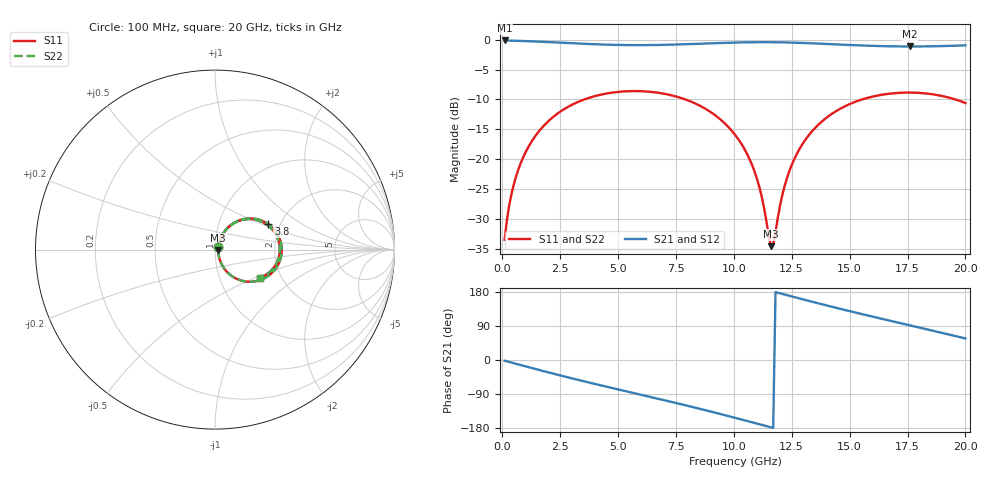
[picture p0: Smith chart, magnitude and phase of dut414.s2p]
! Touchstone file exported from HFSS 2026.1.0
!  File:  C:/ffzhzh/LocalFiles/Ansys_Project_Files/temp_train_TSV_RDL_414_1783094579_46604.aedt
!  Generated:  12:17:11 AM Jul  4, 2026
!  Design:  TSV_RDL
!  Project:  temp_train_TSV_RDL_414_1783094579_46604
! Variables:
!  h_bsmrdl = 4.1um
!  h_ox = 20um
!  h_rdl = 5um
!  h_sub = 85.62um
!  h_tmrdl = 3.87um
!  h_tsv = 85.62um
!  h_via = 3um
!  l_bsmrdl = 585.35um
!  l_sub = 5152.92um
!  l_tmrdl = 708.5um
!  m_sub = 200um
!  pitch = 45.58um
!  r_tsv = 10.34um
!  s_tmrdl = 10um
!  w_bsmrdl = 24.99um
!  w_sub = 500um
!  w_tmrdl = 29.3um
!  x_tsv_center1 = 723.15um
!  x_tsv_center2 = 1333.49um
!  x_tsv_center3 = 2071.29um
!  x_tsv_center4 = 2681.63um
!  x_tsv_center5 = 3419.43um
!  x_tsv_center6 = 4029.77um
# GHz S MA R 50.000000
! Terminal data exported
! Port[1] = TM_RDL1_1_T1
! Port[2] = TM_RDL5_1_T1
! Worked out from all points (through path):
!   200 points, 100 MHz to 20 GHz, reference 50 ohm
!   highest |S21| = -0.15 dB at 100 MHz (marker M1); lowest = -1.2 dB at 17.6 GHz (marker M2)
!   group delay of S21, straight-line fit = 42.2 ps
!   lowest |S11| = -34.5 dB at 11.6 GHz (marker M3), VSWR 1.04, Z = 51.9 - j0.445 ohm
!   |S11| at or under -10 dB: start of sweep to 3.538 GHz; 7.911 GHz to 15.54 GHz (7.626 GHz wide, 65 % of centre); 19.57 GHz to end of sweep
!   |S22| runs from -34.5 to -8.6 dB; largest |S21 - S12| = 1.7e-14
!   S11 on the Smith chart (normalised r, x): 100 MHz: 1.03, +0.03; 3.8 GHz: 1.73, +0.55; 20 GHz: 1.55, -0.54
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0.1  0.02131 36.9  0.9833 -1.8  0.9833 -1.8  0.02131 36.9
! Gamma 0 0 0 0
! Port Impedance 50 0 50 0
0.3  0.04152 57.3  0.9801 -5.2  0.9801 -5.2  0.04152 57.3
0.5  0.06223 62.2  0.9777 -8.5  0.9777 -8.5  0.06223 62.2
1.1  0.1243 61.2  0.9698 -18.4  0.9698 -18.4  0.1243 61.2
2.1  0.218 49.3  0.9516 -34.4  0.9516 -34.4  0.218 49.3
3.5  0.3143 29.7  0.9227 -55.8  0.9227 -55.8  0.3143 29.7
3.8  0.3289 25.6  0.9174 -60.3  0.9174 -60.3  0.3289 25.6
5.3  0.3697 4.9  0.9002 -81.9  0.9002 -81.9  0.3697 4.9
6.8  0.3581 -15.4  0.9023 -103.2  0.9023 -103.2  0.3581 -15.4
8.7  0.2696 -41.6  0.926 -131.3  0.926 -131.3  0.2696 -41.6
10.1  0.156 -60.0  0.945 -153.3  0.945 -153.3  0.156 -60.0
11  0.06877 -65.4  0.951 -167.8  0.951 -167.8  0.06878 -65.4
11.3  0.03984 -58.1  0.9514 -172.7  0.9514 -172.7  0.03983 -58.2
11.6  0.01886 -13.1  0.9508 -177.6  0.9508 -177.6  0.0188 -13.2
11.7  0.01943 16.8  0.9504 -179.2  0.9504 -179.2  0.01935 16.8
12.1  0.05099 60.6  0.9479 174.2  0.9479 174.2  0.05094 60.7
12.4  0.08013 63.7  0.945 169.4  0.945 169.4  0.08008 63.8
13.4  0.1735 55.5  0.9306 153.4  0.9306 153.4  0.1735 55.5
15  0.2893 34.4  0.9012 128.9  0.9012 128.9  0.2892 34.4
16.7  0.353 11.6  0.879 104.3  0.879 104.3  0.353 11.6
17.6  0.3611 -0.4  0.8756 91.5  0.8756 91.5  0.361 -0.3
20  0.2953 -32.3  0.8947 56.8  0.8947 56.8  0.2953 -32.2
